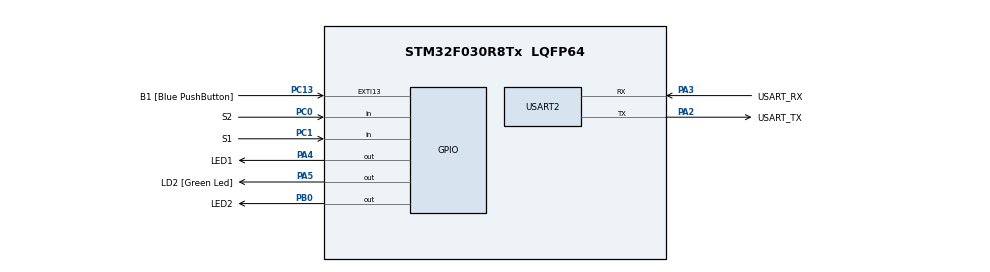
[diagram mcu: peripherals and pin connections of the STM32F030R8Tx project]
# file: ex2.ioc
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Mcu.Family=STM32F0
Mcu.Name=STM32F030R8Tx
Mcu.Package=LQFP64
PA13.GPIO_Label=TMS
PA13.Mode=Serial_Wire
PA13.Signal=SYS_SWDIO
PA14.GPIO_Label=TCK
PA14.Mode=Serial_Wire
PA14.Signal=SYS_SWCLK
PA2.GPIO_Label=USART_TX
PA2.GPIO_Mode=GPIO_MODE_AF_PP
PA2.GPIO_PuPd=GPIO_NOPULL
PA2.GPIO_Speed=GPIO_SPEED_FREQ_LOW
PA2.Mode=Asynchronous
PA2.Signal=USART2_TX
PA3.GPIO_Label=USART_RX
PA3.GPIO_Mode=GPIO_MODE_AF_PP
PA3.GPIO_PuPd=GPIO_NOPULL
PA3.GPIO_Speed=GPIO_SPEED_FREQ_LOW
PA3.Mode=Asynchronous
PA3.Signal=USART2_RX
PA4.GPIO_Label=LED1
PA4.Signal=GPIO_Output
PA5.GPIO_Label=LD2 [Green Led]
PA5.GPIO_Mode=GPIO_MODE_OUTPUT_PP
PA5.GPIO_PuPd=GPIO_NOPULL
PA5.GPIO_Speed=GPIO_SPEED_FREQ_LOW
PA5.Signal=GPIO_Output
PB0.GPIO_Label=LED2
PB0.Signal=GPIO_Output
PC0.GPIO_Label=S2
PC0.GPIO_PuPd=GPIO_PULLUP
PC0.Signal=GPIO_Input
PC1.GPIO_Label=S1
PC1.GPIO_PuPd=GPIO_PULLUP
PC1.Signal=GPIO_Input
PC13.GPIO_Label=B1 [Blue PushButton]
PC13.GPIO_ModeDefaultEXTI=GPIO_MODE_IT_FALLING
PC13.Signal=GPXTI13
PC14-OSC32_IN.Mode=LSE-External-Oscillator
PC14-OSC32_IN.Signal=RCC_OSC32_IN
PC15-OSC32_OUT.Mode=LSE-External-Oscillator
PC15-OSC32_OUT.Signal=RCC_OSC32_OUT
PF0-OSC_IN.Mode=HSE-External-Clock-Source
PF0-OSC_IN.Signal=RCC_OSC_IN
PF1-OSC_OUT.Signal=RCC_OSC_OUT
ProjectManager.HeapSize=0x200
ProjectManager.StackSize=0x400
ProjectManager.TargetToolchain=STM32CubeIDE
RCC.AHBFreq_Value=48000000
RCC.APB1Freq_Value=48000000
RCC.APB1TimFreq_Value=48000000
RCC.HCLKFreq_Value=48000000
RCC.PLLMUL=RCC_PLL_MUL12
RCC.SYSCLKFreq_VALUE=48000000
RCC.SYSCLKSource=RCC_SYSCLKSOURCE_PLLCLK
USART2.VirtualMode-Asynchronous=VM_ASYNC
board=NUCLEO-F030R8

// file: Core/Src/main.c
/* USER CODE BEGIN Header */
/**
  ******************************************************************************
  * @file           : main.c
  * @brief          : Main program body
  ******************************************************************************
  * @attention
  *
  * Copyright (c) 2023 STMicroelectronics.
  * All rights reserved.
  *
  * This software is licensed under terms that can be found in the LICENSE file
  * in the root directory of this software component.
  * If no LICENSE file comes with this software, it is provided AS-IS.
  *
  ******************************************************************************
  */
/* USER CODE END Header */
#include "main.h"

/* USER CODE BEGIN PD */
#define LED_TIME_BLINK 300
#define LED_TIME_SHORT 100
#define LED_TIME_LONG 1000
#define BUTTON_PERIOD_S2 40
#define BUTTON_PERIOD_S1 5
/* USER CODE END PD */

void SystemClock_Config(void);
static void MX_GPIO_Init(void);
static void MX_USART2_UART_Init(void);

/* USER CODE BEGIN 0 */
volatile uint32_t Tick;
/* USER CODE END 0 */

int main(void)
{

  /* MCU Configuration--------------------------------------------------------*/

  /* Reset of all peripherals, Initializes the Flash interface and the Systick. */
  LL_APB1_GRP2_EnableClock(LL_APB1_GRP2_PERIPH_SYSCFG);
  LL_APB1_GRP1_EnableClock(LL_APB1_GRP1_PERIPH_PWR);

  /* Configure the system clock */
  SystemClock_Config();

  /* Initialize all configured peripherals */
  MX_GPIO_Init();
  MX_USART2_UART_Init();
  /* USER CODE BEGIN 2 */
  LL_SYSTICK_EnableIT();
  /* USER CODE END 2 */

  /* Infinite loop */
  /* USER CODE BEGIN WHILE */
  while (1)
  {
	  blinker();
	  buttons();
    /* USER CODE END WHILE */

  }
}

void SystemClock_Config(void)
{
  LL_FLASH_SetLatency(LL_FLASH_LATENCY_1);
  while(LL_FLASH_GetLatency() != LL_FLASH_LATENCY_1)
  {
  }
  LL_RCC_HSI_Enable();

   /* Wait till HSI is ready */
  while(LL_RCC_HSI_IsReady() != 1)
  {

  }
  LL_RCC_HSI_SetCalibTrimming(16);
  LL_RCC_PLL_ConfigDomain_SYS(LL_RCC_PLLSOURCE_HSI_DIV_2, LL_RCC_PLL_MUL_12);
  LL_RCC_PLL_Enable();

   /* Wait till PLL is ready */
  while(LL_RCC_PLL_IsReady() != 1)
  {

  }
  LL_RCC_SetAHBPrescaler(LL_RCC_SYSCLK_DIV_1);
  LL_RCC_SetAPB1Prescaler(LL_RCC_APB1_DIV_1);
  LL_RCC_SetSysClkSource(LL_RCC_SYS_CLKSOURCE_PLL);

   /* Wait till System clock is ready */
  while(LL_RCC_GetSysClkSource() != LL_RCC_SYS_CLKSOURCE_STATUS_PLL)
  {

  }
  LL_Init1msTick(48000000);
  LL_SetSystemCoreClock(48000000);
}

static void MX_USART2_UART_Init(void)
{

  LL_USART_InitTypeDef USART_InitStruct = {0};

  LL_GPIO_InitTypeDef GPIO_InitStruct = {0};

  /* Peripheral clock enable */
  LL_APB1_GRP1_EnableClock(LL_APB1_GRP1_PERIPH_USART2);

  LL_AHB1_GRP1_EnableClock(LL_AHB1_GRP1_PERIPH_GPIOA);
  /**USART2 GPIO Configuration
  PA2   ------> USART2_TX
  PA3   ------> USART2_RX
  */
  GPIO_InitStruct.Pin = USART_TX_Pin;
  GPIO_InitStruct.Mode = LL_GPIO_MODE_ALTERNATE;
  GPIO_InitStruct.Speed = LL_GPIO_SPEED_FREQ_LOW;
  GPIO_InitStruct.OutputType = LL_GPIO_OUTPUT_PUSHPULL;
  GPIO_InitStruct.Pull = LL_GPIO_PULL_NO;
  GPIO_InitStruct.Alternate = LL_GPIO_AF_1;
  LL_GPIO_Init(USART_TX_GPIO_Port, &GPIO_InitStruct);

  GPIO_InitStruct.Pin = USART_RX_Pin;
  GPIO_InitStruct.Mode = LL_GPIO_MODE_ALTERNATE;
  GPIO_InitStruct.Speed = LL_GPIO_SPEED_FREQ_LOW;
  GPIO_InitStruct.OutputType = LL_GPIO_OUTPUT_PUSHPULL;
  GPIO_InitStruct.Pull = LL_GPIO_PULL_NO;
  GPIO_InitStruct.Alternate = LL_GPIO_AF_1;
  LL_GPIO_Init(USART_RX_GPIO_Port, &GPIO_InitStruct);

  USART_InitStruct.BaudRate = 38400;
  USART_InitStruct.DataWidth = LL_USART_DATAWIDTH_8B;
  USART_InitStruct.StopBits = LL_USART_STOPBITS_1;
  USART_InitStruct.Parity = LL_USART_PARITY_NONE;
  USART_InitStruct.TransferDirection = LL_USART_DIRECTION_TX_RX;
  USART_InitStruct.HardwareFlowControl = LL_USART_HWCONTROL_NONE;
  USART_InitStruct.OverSampling = LL_USART_OVERSAMPLING_16;
  LL_USART_Init(USART2, &USART_InitStruct);
  LL_USART_DisableIT_CTS(USART2);
  LL_USART_ConfigAsyncMode(USART2);
  LL_USART_Enable(USART2);

}

static void MX_GPIO_Init(void)
{
  LL_EXTI_InitTypeDef EXTI_InitStruct = {0};
  LL_GPIO_InitTypeDef GPIO_InitStruct = {0};

  /* GPIO Ports Clock Enable */
  LL_AHB1_GRP1_EnableClock(LL_AHB1_GRP1_PERIPH_GPIOC);
  LL_AHB1_GRP1_EnableClock(LL_AHB1_GRP1_PERIPH_GPIOF);
  LL_AHB1_GRP1_EnableClock(LL_AHB1_GRP1_PERIPH_GPIOA);
  LL_AHB1_GRP1_EnableClock(LL_AHB1_GRP1_PERIPH_GPIOB);

  /**/
  LL_GPIO_ResetOutputPin(LED1_GPIO_Port, LED1_Pin);

  /**/
  LL_GPIO_ResetOutputPin(LD2_GPIO_Port, LD2_Pin);

  /**/
  LL_GPIO_ResetOutputPin(LED2_GPIO_Port, LED2_Pin);

  /**/
  LL_SYSCFG_SetEXTISource(LL_SYSCFG_EXTI_PORTC, LL_SYSCFG_EXTI_LINE13);

  /**/
  LL_GPIO_SetPinPull(B1_GPIO_Port, B1_Pin, LL_GPIO_PULL_NO);

  /**/
  LL_GPIO_SetPinMode(B1_GPIO_Port, B1_Pin, LL_GPIO_MODE_INPUT);

  /**/
  EXTI_InitStruct.Line_0_31 = LL_EXTI_LINE_13;
  EXTI_InitStruct.LineCommand = ENABLE;
  EXTI_InitStruct.Mode = LL_EXTI_MODE_IT;
  EXTI_InitStruct.Trigger = LL_EXTI_TRIGGER_FALLING;
  LL_EXTI_Init(&EXTI_InitStruct);

  /**/
  GPIO_InitStruct.Pin = S2_Pin;
  GPIO_InitStruct.Mode = LL_GPIO_MODE_INPUT;
  GPIO_InitStruct.Pull = LL_GPIO_PULL_UP;
  LL_GPIO_Init(S2_GPIO_Port, &GPIO_InitStruct);

  /**/
  GPIO_InitStruct.Pin = S1_Pin;
  GPIO_InitStruct.Mode = LL_GPIO_MODE_INPUT;
  GPIO_InitStruct.Pull = LL_GPIO_PULL_UP;
  LL_GPIO_Init(S1_GPIO_Port, &GPIO_InitStruct);

  /**/
  GPIO_InitStruct.Pin = LED1_Pin;
  GPIO_InitStruct.Mode = LL_GPIO_MODE_OUTPUT;
  GPIO_InitStruct.Speed = LL_GPIO_SPEED_FREQ_LOW;
  GPIO_InitStruct.OutputType = LL_GPIO_OUTPUT_PUSHPULL;
  GPIO_InitStruct.Pull = LL_GPIO_PULL_NO;
  LL_GPIO_Init(LED1_GPIO_Port, &GPIO_InitStruct);

  /**/
  GPIO_InitStruct.Pin = LD2_Pin;
  GPIO_InitStruct.Mode = LL_GPIO_MODE_OUTPUT;
  GPIO_InitStruct.Speed = LL_GPIO_SPEED_FREQ_LOW;
  GPIO_InitStruct.OutputType = LL_GPIO_OUTPUT_PUSHPULL;
  GPIO_InitStruct.Pull = LL_GPIO_PULL_NO;
  LL_GPIO_Init(LD2_GPIO_Port, &GPIO_InitStruct);

  /**/
  GPIO_InitStruct.Pin = LED2_Pin;
  GPIO_InitStruct.Mode = LL_GPIO_MODE_OUTPUT;
  GPIO_InitStruct.Speed = LL_GPIO_SPEED_FREQ_LOW;
  GPIO_InitStruct.OutputType = LL_GPIO_OUTPUT_PUSHPULL;
  GPIO_InitStruct.Pull = LL_GPIO_PULL_NO;
  LL_GPIO_Init(LED2_GPIO_Port, &GPIO_InitStruct);

}

/* USER CODE BEGIN 4 */
void blinker(void)
{
	static uint32_t delay;

	if (Tick > delay + LED_TIME_BLINK) {
		delay = Tick;
		LL_GPIO_TogglePin(LED1_GPIO_Port, LED1_Pin);
	}
}

void buttons(void) {
	static uint32_t old_s2;
	// static uint32_t old_s1;
	static uint32_t off_time;
	static uint32_t check_time_1;
	static uint32_t check_time_2;
	static uint16_t debounce = 0xFFFF;
	uint32_t new_s2 = LL_GPIO_IsInputPinSet(S2_GPIO_Port, S2_Pin);
	// uint32_t new_s1 = LL_GPIO_IsInputPinSet(S1_GPIO_Port, S1_Pin);

	if(Tick > check_time_1 + BUTTON_PERIOD_S2) {
		check_time_1 = Tick;
		if (old_s2 && !new_s2) {
				off_time = Tick + LED_TIME_SHORT;
				LL_GPIO_SetOutputPin(LED2_GPIO_Port, LED2_Pin);
		}
		old_s2 = new_s2;
	}

	/* if (old_s1 && !new_s1) {
			off_time = Tick + LED_TIME_LONG;
			LL_GPIO_SetOutputPin(LED2_GPIO_Port, LED2_Pin);
		}
	old_s1 = new_s1; */

	if (Tick > off_time) {
		LL_GPIO_ResetOutputPin(LED2_GPIO_Port, LED2_Pin);
	}

	/* if (Tick > check_time_2 + BUTTON_PERIOD_S1) {
		check_time_2 = Tick;
		debounce <<= 1;
		if (LL_GPIO_IsInputPinSet(S1_GPIO_Port, S1_Pin) && 1) debounce |= 0x1;
		if (debounce == 0x7FFF) {
			off_time = Tick + LED_TIME_LONG;
			LL_GPIO_SetOutputPin(LED2_GPIO_Port, LED2_Pin);
		}
	} */

	if (Tick > check_time_2 + BUTTON_PERIOD_S1) {
		check_time_2 = Tick;
		debounce = (debounce<<1) + LL_GPIO_IsInputPinSet(S1_GPIO_Port, S1_Pin);
		if (debounce == 0x7FFF) {
			off_time = Tick + LED_TIME_LONG;
			LL_GPIO_SetOutputPin(LED2_GPIO_Port, LED2_Pin);
		}
	}
}
/* USER CODE END 4 */

void Error_Handler(void)
{
  __disable_irq();
  while (1)
  {
  }
}
